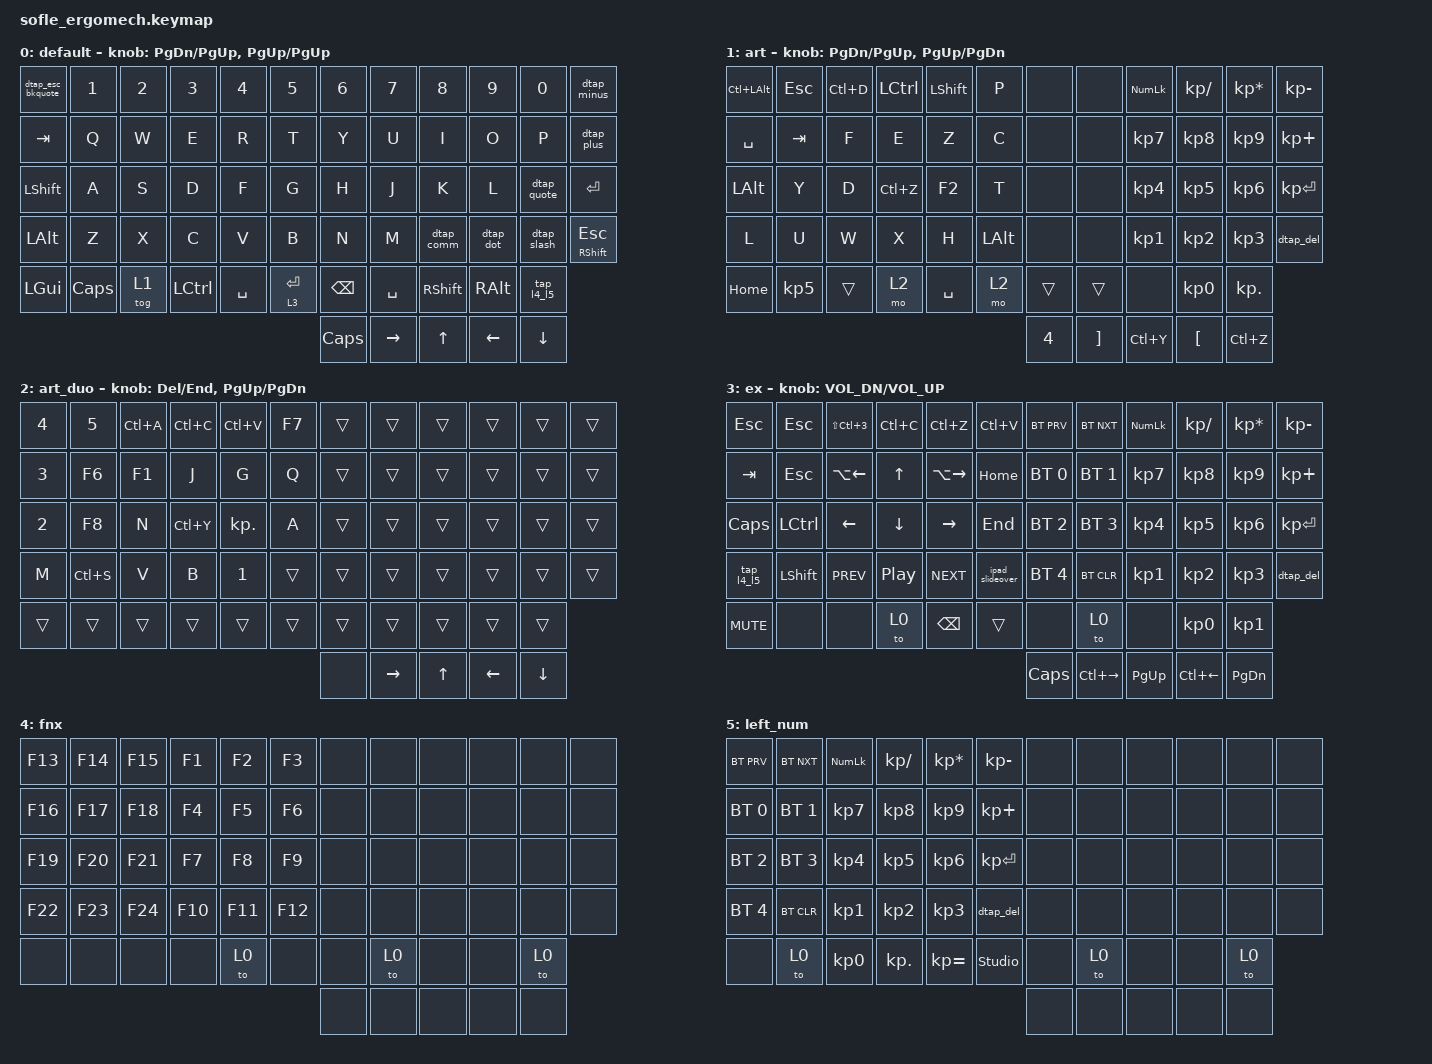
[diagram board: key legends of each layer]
/*
 * Copyright (c) 2020 The ZMK Contributors
 *
 * SPDX-License-Identifier: MIT
 */

#define ZMK_POINTING_DEFAULT_SCRL_VAL 300

#include <behaviors.dtsi>
#include <dt-bindings/zmk/bt.h>
#include <dt-bindings/zmk/keys.h>
#include <dt-bindings/zmk/pointing.h>

#define BASE 0
#define LOWER 1
#define RAISE 2
#define ADJUST 3

/ {
    // Activate ADJUST layer by pressing raise and lower

    conditional_layers { compatible = "zmk,conditional-layers"; };

    combos {
        compatible = "zmk,combos";

        rsft_rspc_rctl {
            bindings = <&kp RIGHT_CONTROL>;
            key-positions = <55 56>;
        };

        lctl_bspc {
            bindings = <&kp BACKSPACE>;
            key-positions = <51 52>;
        };
    };

    macros {
        ipad_slideover: ipad_slideover {
            compatible = "zmk,behavior-macro";
            #binding-cells = <0>;
            bindings =
                <&macro_press>,
                <&kp CAPS>,
                <&macro_tap>,
                <&kp BACKSLASH>,
                <&macro_release>;

            label = "IPAD_SLIDEOVER";
        };
    };

    behaviors {
        mousescroll: mousescroll {
            compatible = "zmk,behavior-sensor-rotate";
            #sensor-binding-cells = <0>;
            bindings = <&msc SCRL_UP>, <&msc SCRL_DOWN>;

            tap-ms = <20>;
        };

        dtap_comm: dtap_comm {
            compatible = "zmk,behavior-tap-dance";
            label = "DTAP_COMM";
            #binding-cells = <0>;
            bindings = <&kp COMMA>, <&kp LEFT_BRACKET>;
        };

        dtap_dot: dtap_dot {
            compatible = "zmk,behavior-tap-dance";
            label = "DTAP_DOT";
            #binding-cells = <0>;
            bindings = <&kp PERIOD>, <&kp RIGHT_BRACKET>;
        };

        dtap_plus: dtap_plus {
            compatible = "zmk,behavior-tap-dance";
            label = "DTAP_PLUS";
            #binding-cells = <0>;
            bindings = <&kp EQUAL>, <&kp KP_MULTIPLY>;
        };

        dtap_minus: dtap_minus {
            compatible = "zmk,behavior-tap-dance";
            label = "DTAP_MINUS";
            #binding-cells = <0>;
            bindings = <&kp MINUS>, <&kp SLASH>;
        };

        dtap_slash: dtap_slash {
            compatible = "zmk,behavior-tap-dance";
            label = "DTAP_SLASH";
            #binding-cells = <0>;
            bindings = <&kp SLASH>, <&kp BACKSLASH>;
        };

        dtap_quote: dtap_quote {
            compatible = "zmk,behavior-tap-dance";
            label = "DTAP_QUOTE";
            #binding-cells = <0>;
            bindings = <&kp SINGLE_QUOTE>, <&kp SEMICOLON>;
        };

        dtap_del: dtap_del {
            compatible = "zmk,behavior-tap-dance";
            label = "DTAP_DEL";
            #binding-cells = <0>;
            bindings = <&kp BACKSPACE>, <&kp DELETE>;

            tapping-term-ms = <150>;
        };

        tap_l4_l5: tap_l4_l5 {
            compatible = "zmk,behavior-tap-dance";
            label = "TAP_L4_L5";
            #binding-cells = <0>;
            bindings = <&tog 4>, <&tog 5>;
        };

        dtap_esc_bkquote: dtap_esc_bkquote {
            compatible = "zmk,behavior-tap-dance";
            label = "DTAP_ESC_BKQUOTE";
            #binding-cells = <0>;
            bindings = <&kp GRAVE>, <&kp ESCAPE>;
        };

        tap_ent_l3: tap_ent_l3 {
            compatible = "zmk,behavior-tap-dance";
            label = "TAP_ENT_L3";
            #binding-cells = <0>;
            bindings = <&kp ENTER>, <&mo 3>;

            tapping-term-ms = <150>;
        };
    };

    keymap {
        compatible = "zmk,keymap";

        default_layer {
            label = "default";

            // ------------------------------------------------------------------------------------------------------------
            // |   `   |  1  |  2  |  3   |  4   |  5   |                   |  6   |  7    |  8    |  9   |   0   |       |
            // |  ESC  |  Q  |  W  |  E   |  R   |  T   |                   |  Y   |  U    |  I    |  O   |   P   | BKSPC |
            // |  TAB  |  A  |  S  |  D   |  F   |  G   |                   |  H   |  J    |  K    |  L   |   ;   |   '   |
            // | SHIFT |  Z  |  X  |  C   |  V   |  B   |  MUTE  |  |       |  N   |  M    |  ,    |  .   |   /   | SHIFT |
            //               | GUI | ALT  | CTRL | LOWER|  ENTER |  | SPACE | RAISE| CTRL  | ALT   | GUI  |

            bindings = <
&dtap_esc_bkquote  &kp N1        &kp N2  &kp N3     &kp N4     &kp N5       &kp N6         &kp N7     &kp N8           &kp N9     &kp N0       &dtap_minus
&kp TAB            &kp Q         &kp W   &kp E      &kp R      &kp T        &kp Y          &kp U      &kp I            &kp O      &kp P        &dtap_plus
&kp LEFT_SHIFT     &kp A         &kp S   &kp D      &kp F      &kp G        &kp H          &kp J      &kp K            &kp L      &dtap_quote  &kp ENTER
&kp LEFT_ALT       &kp Z         &kp X   &kp C      &kp V      &kp B        &kp N          &kp M      &dtap_comm       &dtap_dot  &dtap_slash  &mt RSHFT ESCAPE
&kp LEFT_GUI       &kp CAPSLOCK  &tog 1  &kp LCTRL  &kp SPACE  &lt 3 ENTER  &kp BACKSPACE  &kp SPACE  &kp RIGHT_SHIFT  &kp RALT   &tap_l4_l5
                                                                            &kp CAPS       &kp RIGHT  &kp UP_ARROW     &kp LEFT   &kp DOWN
            >;

            sensor-bindings =
                <&inc_dec_kp PAGE_DOWN PG_UP>,
                <&inc_dec_kp PG_UP PG_UP>;
        };

        art {
            label = "art";

            // TODO: Some binds are waiting for shifted keycode support.
            // ------------------------------------------------------------------------------------------------------------
            // |       |  F1 |  F2 |  F3  |  F4  |  F5  |                   |  F6  |  F7   |  F8   |  F9  |  F10  |  F11  |
            // |   `   |  1  |  2  |  3   |  4   |  5   |                   |  6   |  7    |  8    |  9   |   0   |  F12  |
            // |       |  !  |  @  |  #   |  $   |  %   |                   |  ^   |  &    |  *    |  (   |   )   |   |   |
            // |       |  =  |  -  |  +   |  {   |  }   |        |  |       |  [   |  ]    |  ;    |  :   |   \   |       |
            //               |     |      |      |      |        |  |       |      |       |       |      |

            bindings = <
&kp LC(LALT)  &kp ESC          &kp LC(D)  &kp LCTRL  &kp LSHFT  &kp P     &none         &none              &kp KP_NUMLOCK   &kp KP_DIVIDE     &kp KP_MULTIPLY  &kp KP_MINUS
&kp SPACE     &kp TAB          &kp F      &kp E      &kp Z      &kp C     &none         &none              &kp KP_N7        &kp KP_NUMBER_8   &kp KP_N9        &kp KP_PLUS
&kp LALT      &kp Y            &kp D      &kp LC(Z)  &kp F2     &kp T     &none         &none              &kp KP_NUMBER_4  &kp KP_NUMBER_5   &kp KP_N6        &kp KP_ENTER
&kp L         &kp U            &kp W      &kp X      &kp H      &kp LALT  &none         &none              &kp KP_NUMBER_1  &kp KP_NUMBER_2   &kp KP_NUMBER_3  &dtap_del
&kp HOME      &kp KP_NUMBER_5  &trans     &mo 2      &kp SPACE  &mo 2     &trans        &trans             &none            &kp KP_NUMBER_0   &kp KP_DOT
                                                                          &kp NUMBER_4  &kp RIGHT_BRACKET  &kp LC(Y)        &kp LEFT_BRACKET  &kp LC(Z)
            >;

            sensor-bindings =
                <&inc_dec_kp PAGE_DOWN PG_UP>,
                <&inc_dec_kp PG_UP PG_DN>;
        };

        art_duo {
            label = "art_duo";

            // ------------------------------------------------------------------------------------------------------------
            // | BTCLR | BT1  | BT2  |  BT3  |  BT4  |  BT5 |                |      |      |       |      |       |       |
            // |       | INS  | PSCR | GUI   |       |      |                | PGUP |      |   ^   |      |       |       |
            // |       | ALT  | CTRL | SHIFT |       | CAPS |                | PGDN |   <- |   v   |  ->  |  DEL  | BKSPC |
            // |       | UNDO | CUT  | COPY  | PASTE |      |      |  |      |      |      |       |      |       |       |
            //                |      |       |       |      |      |  |      |      |      |       |      |

            bindings = <
&kp N4  &kp N5     &kp LC(A)  &kp LC(C)  &kp LC(V)   &kp F7  &trans  &trans     &trans        &trans    &trans    &trans
&kp N3  &kp F6     &kp F1     &kp J      &kp G       &kp Q   &trans  &trans     &trans        &trans    &trans    &trans
&kp N2  &kp F8     &kp N      &kp LC(Y)  &kp KP_DOT  &kp A   &trans  &trans     &trans        &trans    &trans    &trans
&kp M   &kp LC(S)  &kp V      &kp B      &kp N1      &trans  &trans  &trans     &trans        &trans    &trans    &trans
&trans  &trans     &trans     &trans     &trans      &trans  &trans  &trans     &trans        &trans    &trans
                                                             &none   &kp RIGHT  &kp UP_ARROW  &kp LEFT  &kp DOWN
            >;

            sensor-bindings =
                <&inc_dec_kp DELETE END>,
                <&inc_dec_kp PG_UP PG_DN>;
        };

        ex {
            // ----------------------------------------------------------------------------------------------------------------------------
            // | BTCLR  |  BT1    |  BT2    |   BT3   |   BT4   |   BT5   |                  |      |      |       |      |       |       |
            // | EXTPWR | RGB_HUD | RGB_HUI | RGB_SAD | RGB_SAI | RGB_EFF |                  |      |      |       |      |       |       |
            // |        | RGB_BRD | RGB_BRI |         |         |         |                  |      |      |       |      |       |       |
            // |        |         |         |         |         |         | RGB_TOG | |      |      |      |       |      |       |       |
            //                    |         |         |         |         |         | |      |      |      |       |      |

            label = "ex";
            bindings = <
&kp ESC     &kp ESC    &kp LS(LC(NUMBER_3))  &kp LC(C)         &kp LC(Z)      &kp LC(V)        &bt BT_PRV    &bt BT_NXT     &kp KP_NUM       &kp KP_DIVIDE    &kp KP_MULTIPLY  &kp KP_MINUS
&kp TAB     &kp ESC    &kp LA(LEFT)          &kp UP            &kp LA(RIGHT)  &kp HOME         &bt BT_SEL 0  &bt BT_SEL 1   &kp KP_NUMBER_7  &kp KP_NUMBER_8  &kp KP_NUMBER_9  &kp KP_PLUS
&kp CAPS    &kp LCTRL  &kp LEFT              &kp DOWN          &kp RIGHT      &kp END          &bt BT_SEL 2  &bt BT_SEL 3   &kp KP_NUMBER_4  &kp KP_NUMBER_5  &kp KP_NUMBER_6  &kp KP_ENTER
&tap_l4_l5  &kp LSHFT  &kp C_PREV            &kp C_PLAY_PAUSE  &kp C_NEXT     &ipad_slideover  &bt BT_SEL 4  &bt BT_CLR     &kp KP_NUMBER_1  &kp KP_NUMBER_2  &kp KP_NUMBER_3  &dtap_del
&kp C_MUTE  &none      &none                 &to 0             &kp BACKSPACE  &trans           &none         &to 0          &none            &kp KP_NUMBER_0  &kp KP_NUMBER_1
                                                                                               &kp CAPS      &kp LC(RIGHT)  &kp PG_UP        &kp LC(LEFT)     &kp PG_DN
            >;

            sensor-bindings = <&inc_dec_kp C_VOL_DN C_VOLUME_UP>;
        };

        function {
            bindings = <
&kp F13  &kp F14  &kp F15  &kp F1   &kp F2   &kp F3   &none  &none  &none  &none  &none  &none
&kp F16  &kp F17  &kp F18  &kp F4   &kp F5   &kp F6   &none  &none  &none  &none  &none  &none
&kp F19  &kp F20  &kp F21  &kp F7   &kp F8   &kp F9   &none  &none  &none  &none  &none  &none
&kp F22  &kp F23  &kp F24  &kp F10  &kp F11  &kp F12  &none  &none  &none  &none  &none  &none
&none    &none    &none    &none    &to 0    &none    &none  &to 0  &none  &none  &to 0
                                                      &none  &none  &none  &none  &none
            >;

            label = "fnx";
        };

        left_numpad {
            bindings = <
&bt BT_PRV    &bt BT_NXT    &kp KP_NUMLOCK   &kp KP_DIVIDE    &kp KP_MULTIPLY  &kp KP_MINUS    &none  &none  &none  &none  &none  &none
&bt BT_SEL 0  &bt BT_SEL 1  &kp KP_NUMBER_7  &kp KP_NUMBER_8  &kp KP_NUMBER_9  &kp KP_PLUS     &none  &none  &none  &none  &none  &none
&bt BT_SEL 2  &bt BT_SEL 3  &kp KP_NUMBER_4  &kp KP_NUMBER_5  &kp KP_NUMBER_6  &kp KP_ENTER    &none  &none  &none  &none  &none  &none
&bt BT_SEL 4  &bt BT_CLR    &kp KP_NUMBER_1  &kp KP_NUMBER_2  &kp KP_NUMBER_3  &dtap_del       &none  &none  &none  &none  &none  &none
&none         &to 0         &kp KP_NUMBER_0  &kp KP_DOT       &kp KP_EQUAL     &studio_unlock  &none  &to 0  &none  &none  &to 0
                                                                                               &none  &none  &none  &none  &none
            >;

            label = "left_num";
        };
    };
};
